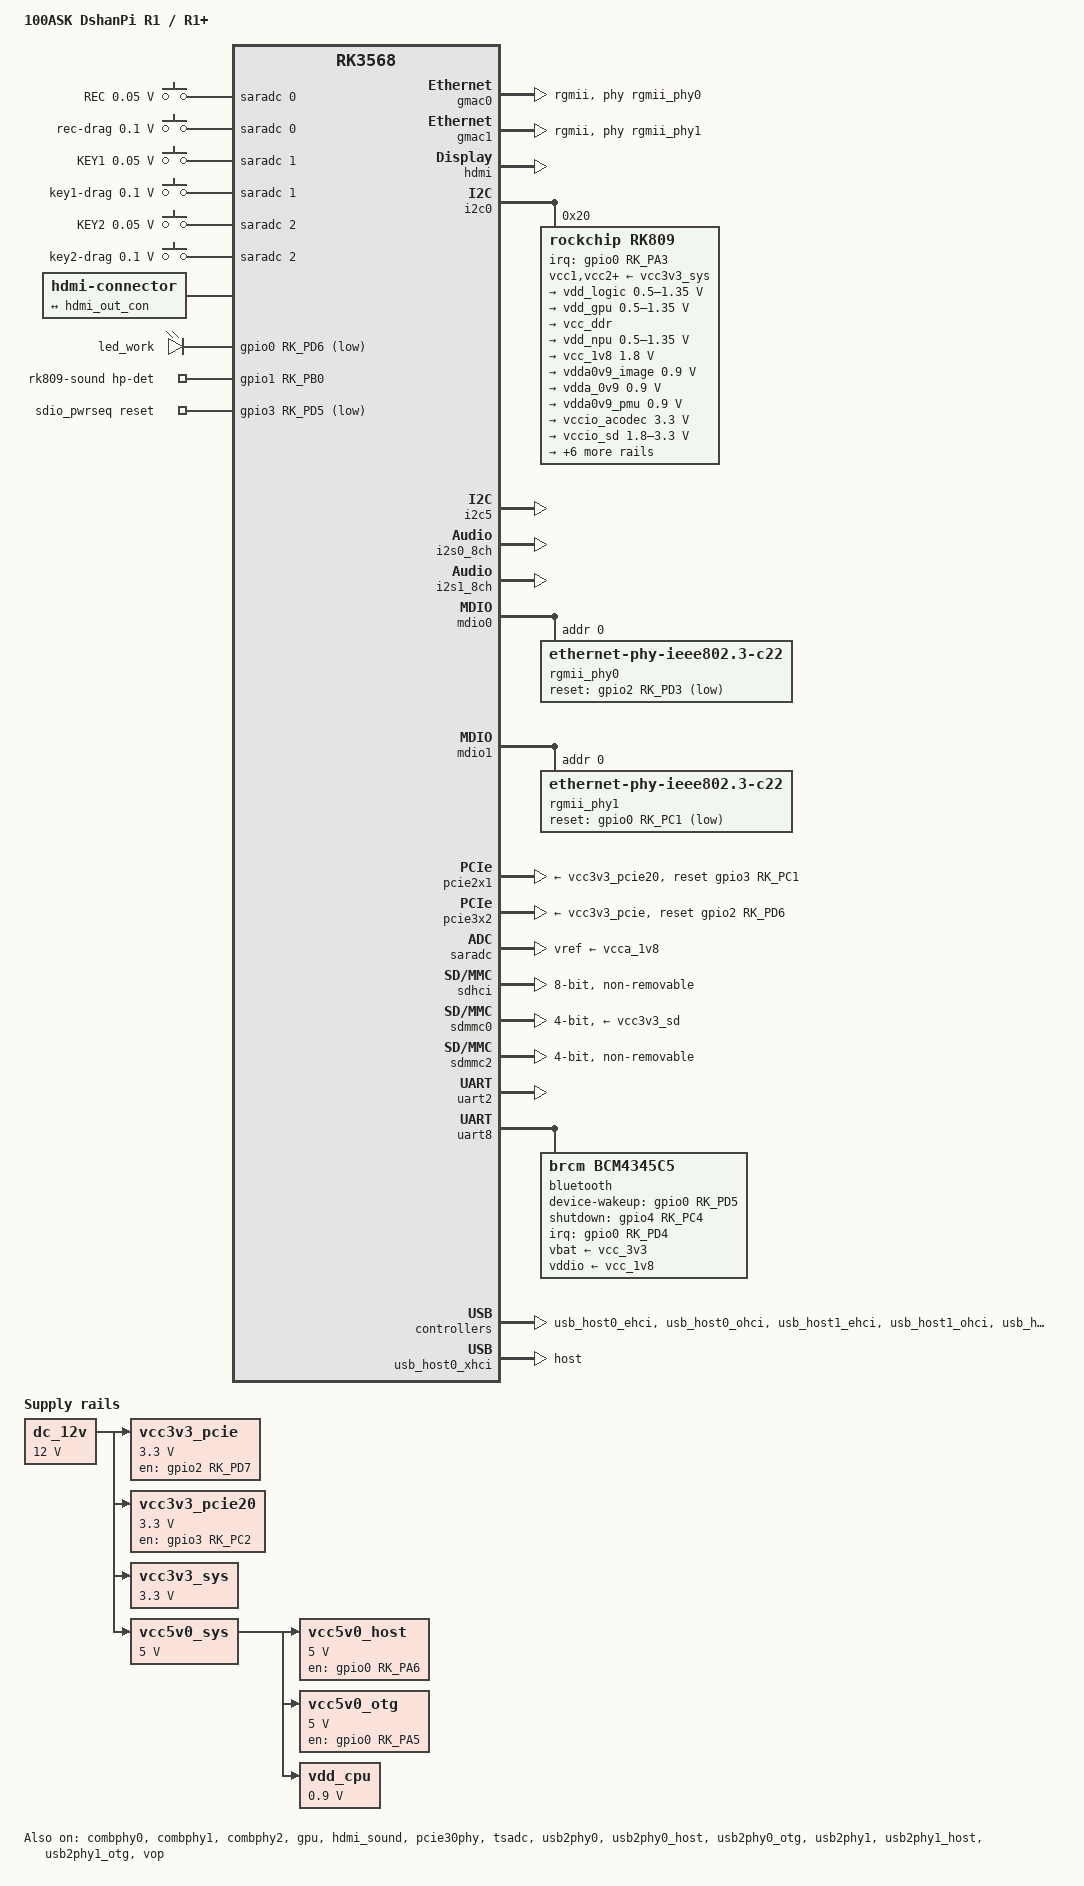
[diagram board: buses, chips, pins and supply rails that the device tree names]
// SPDX-License-Identifier: (GPL-2.0+ OR MIT)
/*
 * 100ASK DshanPi R1 / R1+ (RK3568).
 * This file is a port of the vendor BSP device tree.
 *
 * The DTS leaves out FUSB302 PD, pwm15 IR, and the DSI backlights.
 * The DTS leaves out SFC and the NPU.
 * The IR receiver sits on GPIO3_C5.
 * GPIO4_C3 is CAN1_TX on this board.
 * The board omits SPI-NOR.
 * vdd_npu stays off until a mainline NPU driver exists.
 * vdd_cpu is a fixed 0.9 V rail.
 * The OPP core drops OPPs above 1.104 GHz.
 * Both RTL8211F PHYs take a 25 MHz reference from CLK_MACx_OUT.
 * WiFi and BT on sdmmc2 and uart8 serve the soldered AP6256.
 * The R1+ routes the same wiring to the M.2 E-key slot.
 * WiFi and BT stay on by default.
 */

/dts-v1/;

#include <dt-bindings/gpio/gpio.h>
#include <dt-bindings/input/linux-event-codes.h>
#include <dt-bindings/leds/common.h>
#include <dt-bindings/pinctrl/rockchip.h>
#include <dt-bindings/soc/rockchip,vop2.h>
#include "rk3568.dtsi"

/ {
	model = "100ASK DshanPi R1 / R1+";
	compatible = "100ask,dshanpi-r1", "rockchip,rk3568";

	/*
	 * Each side button is one SPST to ground on its own SARADC channel.
	 * A grounded channel drags the other channels to about 0.2 V.
	 * Each node has a dummy rung at 0.1 V.
	 * The 0.2 V drag matches the dummy rung.
	 * A real press measures 20-30 mV.
	 */
	adc-keys {
		compatible = "adc-keys";
		io-channels = <&saradc 0>;
		io-channel-names = "buttons";
		keyup-threshold-microvolt = <1800000>;
		poll-interval = <100>;

		button-rec {
			label = "REC";
			linux,code = <KEY_VENDOR>;
			press-threshold-microvolt = <50000>;
		};

		button-rec-drag {
			label = "rec-drag";
			linux,code = <KEY_RESERVED>;
			press-threshold-microvolt = <100000>;
		};
	};

	adc-keys-1 {
		compatible = "adc-keys";
		io-channels = <&saradc 1>;
		io-channel-names = "buttons";
		keyup-threshold-microvolt = <1800000>;
		poll-interval = <100>;

		button-key1 {
			label = "KEY1";
			linux,code = <KEY_PROG1>;
			press-threshold-microvolt = <50000>;
		};

		button-key1-drag {
			label = "key1-drag";
			linux,code = <KEY_RESERVED>;
			press-threshold-microvolt = <100000>;
		};
	};

	adc-keys-2 {
		compatible = "adc-keys";
		io-channels = <&saradc 2>;
		io-channel-names = "buttons";
		keyup-threshold-microvolt = <1800000>;
		poll-interval = <100>;

		button-key2 {
			label = "KEY2";
			linux,code = <KEY_PROG2>;
			press-threshold-microvolt = <50000>;
		};

		button-key2-drag {
			label = "key2-drag";
			linux,code = <KEY_RESERVED>;
			press-threshold-microvolt = <100000>;
		};
	};

	aliases {
		ethernet0 = &gmac0;
		ethernet1 = &gmac1;
		mmc0 = &sdmmc0;
		mmc1 = &sdhci;
		mmc2 = &sdmmc2;
	};

	chosen {
		stdout-path = "serial2:1500000n8";
	};

	dc_12v: dc-12v {
		compatible = "regulator-fixed";
		regulator-name = "dc_12v";
		regulator-always-on;
		regulator-boot-on;
		regulator-min-microvolt = <12000000>;
		regulator-max-microvolt = <12000000>;
	};

	hdmi-con {
		compatible = "hdmi-connector";
		type = "a";

		port {
			hdmi_con_in: endpoint {
				remote-endpoint = <&hdmi_out_con>;
			};
		};
	};

	leds {
		compatible = "gpio-leds";

		led_work: led-0 {
			function = LED_FUNCTION_HEARTBEAT;
			gpios = <&gpio0 RK_PD6 GPIO_ACTIVE_LOW>;
			linux,default-trigger = "heartbeat";
		};
	};

	rk809-sound {
		compatible = "simple-audio-card";
		simple-audio-card,format = "i2s";
		simple-audio-card,hp-det-gpios = <&gpio1 RK_PB0 GPIO_ACTIVE_HIGH>;
		simple-audio-card,name = "Analog RK809";
		simple-audio-card,mclk-fs = <256>;
		simple-audio-card,widgets =
			"Headphone", "Headphones",
			"Speaker", "Speaker";
		simple-audio-card,routing =
			"Headphones", "HPOL",
			"Headphones", "HPOR",
			"Speaker", "SPKO";
		pinctrl-names = "default";
		pinctrl-0 = <&hp_det>;

		simple-audio-card,cpu {
			sound-dai = <&i2s1_8ch>;
		};
		simple-audio-card,codec {
			sound-dai = <&rk809>;
		};
	};

	sdio_pwrseq: sdio-pwrseq {
		compatible = "mmc-pwrseq-simple";
		clocks = <&rk809 1>;
		clock-names = "ext_clock";
		pinctrl-names = "default";
		pinctrl-0 = <&wifi_enable_h>;
		post-power-on-delay-ms = <200>;
		reset-gpios = <&gpio3 RK_PD5 GPIO_ACTIVE_LOW>;
	};

	vcc3v3_pcie: vcc3v3-pcie-regulator {
		compatible = "regulator-fixed";
		regulator-name = "vcc3v3_pcie";
		regulator-min-microvolt = <3300000>;
		regulator-max-microvolt = <3300000>;
		enable-active-high;
		gpio = <&gpio2 RK_PD7 GPIO_ACTIVE_HIGH>;
		startup-delay-us = <5000>;
		vin-supply = <&dc_12v>;
	};

	vcc3v3_pcie20: vcc3v3-pcie20-regulator {
		compatible = "regulator-fixed";
		regulator-name = "vcc3v3_pcie20";
		regulator-min-microvolt = <3300000>;
		regulator-max-microvolt = <3300000>;
		enable-active-high;
		gpio = <&gpio3 RK_PC2 GPIO_ACTIVE_HIGH>;
		startup-delay-us = <5000>;
		vin-supply = <&dc_12v>;
	};

	vcc3v3_sys: vcc3v3-sys {
		compatible = "regulator-fixed";
		regulator-name = "vcc3v3_sys";
		regulator-always-on;
		regulator-boot-on;
		regulator-min-microvolt = <3300000>;
		regulator-max-microvolt = <3300000>;
		vin-supply = <&dc_12v>;
	};

	vcc5v0_host: vcc5v0-host-regulator {
		compatible = "regulator-fixed";
		regulator-name = "vcc5v0_host";
		regulator-always-on;
		regulator-boot-on;
		regulator-min-microvolt = <5000000>;
		regulator-max-microvolt = <5000000>;
		enable-active-high;
		gpio = <&gpio0 RK_PA6 GPIO_ACTIVE_HIGH>;
		pinctrl-names = "default";
		pinctrl-0 = <&vcc5v0_host_en>;
		vin-supply = <&vcc5v0_sys>;
	};

	vcc5v0_otg: vcc5v0-otg-regulator {
		compatible = "regulator-fixed";
		regulator-name = "vcc5v0_otg";
		regulator-min-microvolt = <5000000>;
		regulator-max-microvolt = <5000000>;
		enable-active-high;
		gpio = <&gpio0 RK_PA5 GPIO_ACTIVE_HIGH>;
		pinctrl-names = "default";
		pinctrl-0 = <&vcc5v0_otg_en>;
		vin-supply = <&vcc5v0_sys>;
	};

	vcc5v0_sys: vcc5v0-sys {
		compatible = "regulator-fixed";
		regulator-name = "vcc5v0_sys";
		regulator-always-on;
		regulator-boot-on;
		regulator-min-microvolt = <5000000>;
		regulator-max-microvolt = <5000000>;
		vin-supply = <&dc_12v>;
	};

	vdd_cpu: vdd-cpu {
		compatible = "regulator-fixed";
		regulator-name = "vdd_cpu";
		regulator-always-on;
		regulator-boot-on;
		regulator-min-microvolt = <900000>;
		regulator-max-microvolt = <900000>;
		vin-supply = <&vcc5v0_sys>;
	};
};

&combphy0 {
	status = "okay";
};

&combphy1 {
	status = "okay";
};

&combphy2 {
	status = "okay";
};

&cpu0 {
	cpu-supply = <&vdd_cpu>;
};

&cpu1 {
	cpu-supply = <&vdd_cpu>;
};

&cpu2 {
	cpu-supply = <&vdd_cpu>;
};

&cpu3 {
	cpu-supply = <&vdd_cpu>;
};

&gmac0 {
	assigned-clocks = <&cru SCLK_GMAC0_RX_TX>, <&cru SCLK_GMAC0>, <&cru CLK_MAC0_OUT>;
	assigned-clock-parents = <&cru SCLK_GMAC0_RGMII_SPEED>, <&cru CLK_MAC0_2TOP>;
	assigned-clock-rates = <0>, <125000000>, <25000000>;
	clock_in_out = "input";
	phy-mode = "rgmii";
	pinctrl-names = "default";
	pinctrl-0 = <&gmac0_miim
		     &gmac0_tx_bus2
		     &gmac0_rx_bus2
		     &gmac0_rgmii_clk
		     &gmac0_rgmii_bus
		     &eth0_pins
		     &gmac0_clkinout>;
	tx_delay = <0x2d>;
	rx_delay = <0x2c>;
	phy-handle = <&rgmii_phy0>;
	status = "okay";
};

&gmac1 {
	assigned-clocks = <&cru SCLK_GMAC1_RX_TX>, <&cru SCLK_GMAC1>, <&cru CLK_MAC1_OUT>;
	assigned-clock-parents = <&cru SCLK_GMAC1_RGMII_SPEED>, <&cru CLK_MAC1_2TOP>;
	assigned-clock-rates = <0>, <125000000>, <25000000>;
	clock_in_out = "input";
	phy-mode = "rgmii";
	pinctrl-names = "default";
	pinctrl-0 = <&gmac1m1_miim
		     &gmac1m1_tx_bus2
		     &gmac1m1_rx_bus2
		     &gmac1m1_rgmii_clk
		     &gmac1m1_rgmii_bus
		     &eth1m0_pins
		     &gmac1m1_clkinout>;
	tx_delay = <0x3a>;
	rx_delay = <0x29>;
	phy-handle = <&rgmii_phy1>;
	status = "okay";
};

&gpu {
	mali-supply = <&vdd_gpu>;
	status = "okay";
};

&hdmi {
	avdd-0v9-supply = <&vdda0v9_image>;
	avdd-1v8-supply = <&vcca1v8_image>;
	status = "okay";
};

&hdmi_in {
	hdmi_in_vp0: endpoint {
		remote-endpoint = <&vp0_out_hdmi>;
	};
};

&hdmi_out {
	hdmi_out_con: endpoint {
		remote-endpoint = <&hdmi_con_in>;
	};
};

&hdmi_sound {
	status = "okay";
};

&i2c0 {
	status = "okay";

	rk809: pmic@20 {
		compatible = "rockchip,rk809";
		reg = <0x20>;
		interrupt-parent = <&gpio0>;
		interrupts = <RK_PA3 IRQ_TYPE_LEVEL_LOW>;
		#clock-cells = <1>;
		#sound-dai-cells = <0>;
		assigned-clocks = <&cru I2S1_MCLKOUT_TX>;
		assigned-clock-parents = <&cru CLK_I2S1_8CH_TX>;
		clock-names = "mclk";
		clocks = <&cru I2S1_MCLKOUT_TX>;
		pinctrl-names = "default";
		pinctrl-0 = <&pmic_int>, <&i2s1m0_mclk>;
		system-power-controller;
		wakeup-source;

		vcc1-supply = <&vcc3v3_sys>;
		vcc2-supply = <&vcc3v3_sys>;
		vcc3-supply = <&vcc3v3_sys>;
		vcc4-supply = <&vcc3v3_sys>;
		vcc5-supply = <&vcc3v3_sys>;
		vcc6-supply = <&vcc3v3_sys>;
		vcc7-supply = <&vcc3v3_sys>;
		vcc8-supply = <&vcc3v3_sys>;
		vcc9-supply = <&vcc3v3_sys>;

		pwrkey {
			status = "okay";
		};

		regulators {
			vdd_logic: DCDC_REG1 {
				regulator-name = "vdd_logic";
				regulator-always-on;
				regulator-boot-on;
				regulator-initial-mode = <0x2>;
				regulator-min-microvolt = <500000>;
				regulator-max-microvolt = <1350000>;
				regulator-ramp-delay = <6001>;

				regulator-state-mem {
					regulator-off-in-suspend;
				};
			};

			vdd_gpu: DCDC_REG2 {
				regulator-name = "vdd_gpu";
				regulator-always-on;
				regulator-boot-on;
				regulator-initial-mode = <0x2>;
				regulator-min-microvolt = <500000>;
				regulator-max-microvolt = <1350000>;
				regulator-ramp-delay = <6001>;

				regulator-state-mem {
					regulator-off-in-suspend;
				};
			};

			vcc_ddr: DCDC_REG3 {
				regulator-name = "vcc_ddr";
				regulator-always-on;
				regulator-boot-on;
				regulator-initial-mode = <0x2>;

				regulator-state-mem {
					regulator-on-in-suspend;
				};
			};

			vdd_npu: DCDC_REG4 {
				regulator-name = "vdd_npu";
				regulator-initial-mode = <0x2>;
				regulator-min-microvolt = <500000>;
				regulator-max-microvolt = <1350000>;
				regulator-ramp-delay = <6001>;

				regulator-state-mem {
					regulator-off-in-suspend;
				};
			};

			vcc_1v8: DCDC_REG5 {
				regulator-name = "vcc_1v8";
				regulator-always-on;
				regulator-boot-on;
				regulator-min-microvolt = <1800000>;
				regulator-max-microvolt = <1800000>;

				regulator-state-mem {
					regulator-off-in-suspend;
				};
			};

			vdda0v9_image: LDO_REG1 {
				regulator-name = "vdda0v9_image";
				regulator-always-on;
				regulator-boot-on;
				regulator-min-microvolt = <900000>;
				regulator-max-microvolt = <900000>;

				regulator-state-mem {
					regulator-off-in-suspend;
				};
			};

			vdda_0v9: LDO_REG2 {
				regulator-name = "vdda_0v9";
				regulator-always-on;
				regulator-boot-on;
				regulator-min-microvolt = <900000>;
				regulator-max-microvolt = <900000>;

				regulator-state-mem {
					regulator-off-in-suspend;
				};
			};

			vdda0v9_pmu: LDO_REG3 {
				regulator-name = "vdda0v9_pmu";
				regulator-always-on;
				regulator-boot-on;
				regulator-min-microvolt = <900000>;
				regulator-max-microvolt = <900000>;

				regulator-state-mem {
					regulator-on-in-suspend;
					regulator-suspend-microvolt = <900000>;
				};
			};

			vccio_acodec: LDO_REG4 {
				regulator-name = "vccio_acodec";
				regulator-always-on;
				regulator-boot-on;
				regulator-min-microvolt = <3300000>;
				regulator-max-microvolt = <3300000>;

				regulator-state-mem {
					regulator-off-in-suspend;
				};
			};

			vccio_sd: LDO_REG5 {
				regulator-name = "vccio_sd";
				regulator-always-on;
				regulator-boot-on;
				regulator-min-microvolt = <1800000>;
				regulator-max-microvolt = <3300000>;

				regulator-state-mem {
					regulator-off-in-suspend;
				};
			};

			vcc3v3_pmu: LDO_REG6 {
				regulator-name = "vcc3v3_pmu";
				regulator-always-on;
				regulator-boot-on;
				regulator-min-microvolt = <3300000>;
				regulator-max-microvolt = <3300000>;

				regulator-state-mem {
					regulator-on-in-suspend;
					regulator-suspend-microvolt = <3300000>;
				};
			};

			vcca_1v8: LDO_REG7 {
				regulator-name = "vcca_1v8";
				regulator-always-on;
				regulator-boot-on;
				regulator-min-microvolt = <1800000>;
				regulator-max-microvolt = <1800000>;

				regulator-state-mem {
					regulator-off-in-suspend;
				};
			};

			vcca1v8_pmu: LDO_REG8 {
				regulator-name = "vcca1v8_pmu";
				regulator-always-on;
				regulator-boot-on;
				regulator-min-microvolt = <1800000>;
				regulator-max-microvolt = <1800000>;

				regulator-state-mem {
					regulator-on-in-suspend;
					regulator-suspend-microvolt = <1800000>;
				};
			};

			vcca1v8_image: LDO_REG9 {
				regulator-name = "vcca1v8_image";
				regulator-always-on;
				regulator-boot-on;
				regulator-min-microvolt = <1800000>;
				regulator-max-microvolt = <1800000>;

				regulator-state-mem {
					regulator-off-in-suspend;
				};
			};

			vcc_3v3: SWITCH_REG1 {
				regulator-name = "vcc_3v3";
				regulator-always-on;
				regulator-boot-on;

				regulator-state-mem {
					regulator-off-in-suspend;
				};
			};

			vcc3v3_sd: SWITCH_REG2 {
				regulator-name = "vcc3v3_sd";
				regulator-always-on;
				regulator-boot-on;

				regulator-state-mem {
					regulator-off-in-suspend;
				};
			};
		};
	};
};

/* I2C5 serves the expansion LCD connector. */
&i2c5 {
	status = "okay";
};

&i2s0_8ch {
	status = "okay";
};

&i2s1_8ch {
	pinctrl-names = "default";
	pinctrl-0 = <&i2s1m0_sclktx &i2s1m0_lrcktx &i2s1m0_sdi0 &i2s1m0_sdo0>;
	rockchip,trcm-sync-tx-only;
	status = "okay";
};

&mdio0 {
	rgmii_phy0: ethernet-phy@0 {
		compatible = "ethernet-phy-ieee802.3-c22";
		reg = <0x0>;
		clocks = <&cru CLK_MAC0_OUT>;
		/* LED1 shows link. LED2 shows activity. */
		realtek,led-data = <0xc160>;
		reset-assert-us = <20000>;
		reset-deassert-us = <100000>;
		reset-gpios = <&gpio2 RK_PD3 GPIO_ACTIVE_LOW>;
	};
};

&mdio1 {
	rgmii_phy1: ethernet-phy@0 {
		compatible = "ethernet-phy-ieee802.3-c22";
		reg = <0x0>;
		clocks = <&cru CLK_MAC1_OUT>;
		/* LED1 shows link. LED2 shows activity. */
		realtek,led-data = <0xc160>;
		/* The carrier schematic labels this reset GPIO2_D1. */
		/* The PHY reset is GPIO0_C1. */
		reset-assert-us = <20000>;
		reset-deassert-us = <100000>;
		reset-gpios = <&gpio0 RK_PC1 GPIO_ACTIVE_LOW>;
	};
};

&pcie2x1 {
	reset-gpios = <&gpio3 RK_PC1 GPIO_ACTIVE_HIGH>;
	vpcie3v3-supply = <&vcc3v3_pcie20>;
	status = "okay";
};

&pcie30phy {
	status = "okay";
};

&pcie3x2 {
	reset-gpios = <&gpio2 RK_PD6 GPIO_ACTIVE_HIGH>;
	vpcie3v3-supply = <&vcc3v3_pcie>;
	status = "okay";
};

&pinctrl {
	bluetooth {
		bt_device_wake: bt-device-wake {
			rockchip,pins = <0 RK_PD5 RK_FUNC_GPIO &pcfg_pull_none>;
		};

		bt_host_wake: bt-host-wake {
			rockchip,pins = <0 RK_PD4 RK_FUNC_GPIO &pcfg_pull_down>;
		};

		bt_shutdown: bt-shutdown {
			rockchip,pins = <4 RK_PC4 RK_FUNC_GPIO &pcfg_pull_none>;
		};
	};

	headphone {
		hp_det: hp-det {
			rockchip,pins = <1 RK_PB0 RK_FUNC_GPIO &pcfg_pull_down>;
		};
	};

	pmic {
		pmic_int: pmic-int {
			rockchip,pins = <0 RK_PA3 RK_FUNC_GPIO &pcfg_pull_up>;
		};
	};

	sdio-pwrseq {
		wifi_enable_h: wifi-enable-h {
			rockchip,pins = <3 RK_PD5 RK_FUNC_GPIO &pcfg_pull_none>;
		};
	};

	usb {
		vcc5v0_host_en: vcc5v0-host-en {
			rockchip,pins = <0 RK_PA6 RK_FUNC_GPIO &pcfg_pull_none>;
		};

		vcc5v0_otg_en: vcc5v0-otg-en {
			rockchip,pins = <0 RK_PA5 RK_FUNC_GPIO &pcfg_pull_none>;
		};
	};
};

&pmu_io_domains {
	pmuio1-supply = <&vcc3v3_pmu>;
	pmuio2-supply = <&vcc3v3_pmu>;
	vccio1-supply = <&vccio_acodec>;
	vccio2-supply = <&vcc_1v8>;
	vccio3-supply = <&vccio_sd>;
	vccio4-supply = <&vcc_1v8>;
	vccio5-supply = <&vcc_3v3>;
	vccio6-supply = <&vcc_1v8>;
	vccio7-supply = <&vcc_3v3>;
	status = "okay";
};

&saradc {
	vref-supply = <&vcca_1v8>;
	status = "okay";
};

&sdhci {
	bus-width = <8>;
	max-frequency = <200000000>;
	mmc-hs200-1_8v;
	non-removable;
	pinctrl-names = "default";
	pinctrl-0 = <&emmc_bus8 &emmc_clk &emmc_cmd &emmc_datastrobe>;
	status = "okay";
};

&sdmmc0 {
	bus-width = <4>;
	cap-mmc-highspeed;
	cap-sd-highspeed;
	disable-wp;
	max-frequency = <150000000>;
	sd-uhs-sdr104;
	vmmc-supply = <&vcc3v3_sd>;
	vqmmc-supply = <&vccio_sd>;
	pinctrl-names = "default";
	pinctrl-0 = <&sdmmc0_bus4 &sdmmc0_clk &sdmmc0_cmd &sdmmc0_det>;
	status = "okay";
};

&sdmmc2 {
	bus-width = <4>;
	cap-sd-highspeed;
	cap-sdio-irq;
	disable-wp;
	keep-power-in-suspend;
	max-frequency = <150000000>;
	mmc-pwrseq = <&sdio_pwrseq>;
	non-removable;
	sd-uhs-sdr104;
	vqmmc-supply = <&vcc_1v8>;
	pinctrl-names = "default";
	pinctrl-0 = <&sdmmc2m0_bus4 &sdmmc2m0_cmd &sdmmc2m0_clk>;
	status = "okay";
};

&tsadc {
	rockchip,hw-tshut-mode = <1>;
	rockchip,hw-tshut-polarity = <0>;
	status = "okay";
};

&uart2 {
	status = "okay";
};

&uart8 {
	status = "okay";
	pinctrl-names = "default";
	pinctrl-0 = <&uart8m0_xfer &uart8m0_ctsn &uart8m0_rtsn>;
	uart-has-rtscts;

	bluetooth {
		compatible = "brcm,bcm4345c5";
		clocks = <&rk809 1>;
		clock-names = "lpo";
		device-wakeup-gpios = <&gpio0 RK_PD5 GPIO_ACTIVE_HIGH>;
		shutdown-gpios = <&gpio4 RK_PC4 GPIO_ACTIVE_HIGH>;
		interrupt-parent = <&gpio0>;
		interrupts = <RK_PD4 IRQ_TYPE_LEVEL_HIGH>;
		interrupt-names = "host-wakeup";
		max-speed = <1500000>;
		pinctrl-names = "default";
		pinctrl-0 = <&bt_device_wake &bt_host_wake &bt_shutdown>;
		vbat-supply = <&vcc_3v3>;
		vddio-supply = <&vcc_1v8>;
	};
};

&usb2phy0 {
	status = "okay";
};

&usb2phy0_host {
	phy-supply = <&vcc5v0_host>;
	status = "okay";
};

&usb2phy0_otg {
	phy-supply = <&vcc5v0_otg>;
	status = "okay";
};

&usb2phy1 {
	status = "okay";
};

&usb2phy1_host {
	phy-supply = <&vcc5v0_host>;
	status = "okay";
};

&usb2phy1_otg {
	phy-supply = <&vcc5v0_host>;
	status = "okay";
};

&usb_host0_ehci {
	status = "okay";
};

&usb_host0_ohci {
	status = "okay";
};

/* The Type-C port runs host-only. */
/* VBUS turns on without CC detection. */
&usb_host0_xhci {
	dr_mode = "host";
	status = "okay";
};

&usb_host1_ehci {
	status = "okay";
};

&usb_host1_ohci {
	status = "okay";
};

&usb_host1_xhci {
	status = "okay";
};

&vop {
	assigned-clocks = <&cru DCLK_VOP0>, <&cru DCLK_VOP1>;
	assigned-clock-parents = <&pmucru PLL_HPLL>, <&cru PLL_VPLL>;
	status = "okay";
};

&vop_mmu {
	status = "okay";
};

&vp0 {
	vp0_out_hdmi: endpoint@ROCKCHIP_VOP2_EP_HDMI0 {
		reg = <ROCKCHIP_VOP2_EP_HDMI0>;
		remote-endpoint = <&hdmi_in_vp0>;
	};
};
